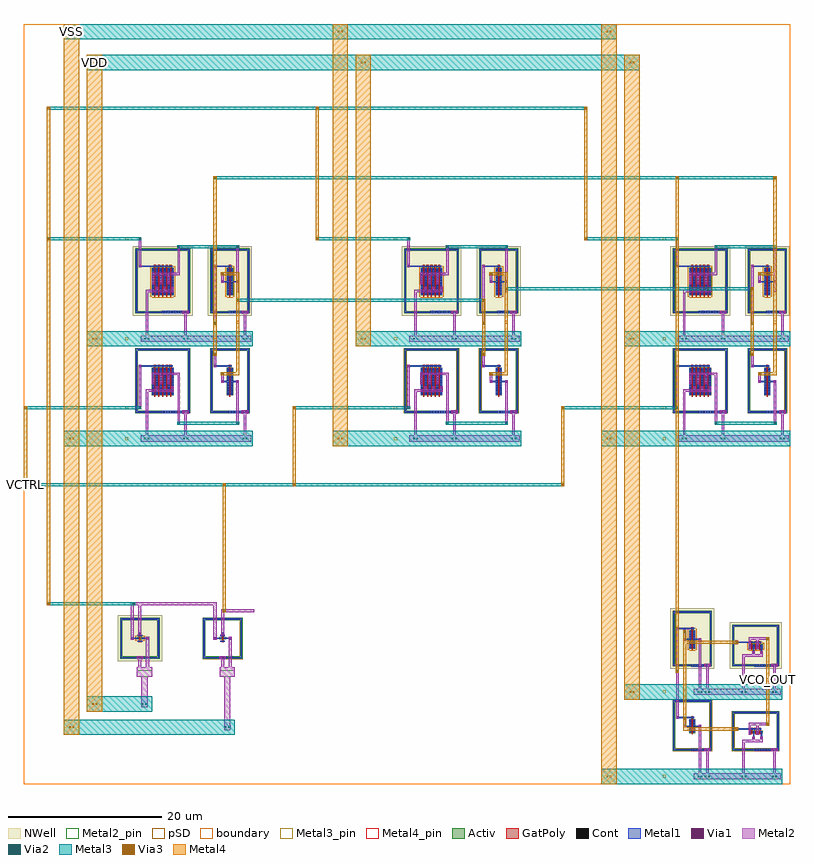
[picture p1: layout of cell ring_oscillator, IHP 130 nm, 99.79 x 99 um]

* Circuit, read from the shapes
.subckt ring_oscillator VCO_OUT VCTRL VDD VSS
XM1 VSS VCTRL inverter_0/cic_sg13_lv_nmos_47ddf1ff5e14_0/D0 VSS sg13_lv_nmos w=3.6u l=0.13u m=5
XM2 VSS VCTRL inverter_0/VBP VSS sg13_lv_nmos w=0.15u l=0.13u
XM3 inverter_0/cic_sg13_lv_nmos_47ddf1ff5e14_0/D0 inverter_0/VIN inverter_1/VIN VSS sg13_lv_nmos w=3.6u l=0.13u
XM4 VSS VCTRL inverter_1/cic_sg13_lv_nmos_47ddf1ff5e14_0/D0 VSS sg13_lv_nmos w=3.6u l=0.13u m=5
XM5 inverter_1/cic_sg13_lv_nmos_47ddf1ff5e14_0/D0 inverter_1/VIN inverter_2/VIN VSS sg13_lv_nmos w=3.6u l=0.13u
XM6 VSS inverter_0/VIN vco_buffer_4/cic_sg13_lv_nmos_735fad46d5f7_0/D VSS sg13_lv_nmos w=1.8u l=0.13u
XM7 VSS VCTRL inverter_2/cic_sg13_lv_nmos_47ddf1ff5e14_0/D0 VSS sg13_lv_nmos w=3.6u l=0.13u m=5
XM8 VSS vco_buffer_4/cic_sg13_lv_nmos_735fad46d5f7_0/D VCO_OUT VSS sg13_lv_nmos w=0.3u l=0.13u m=3
XM9 inverter_2/cic_sg13_lv_nmos_47ddf1ff5e14_0/D0 inverter_2/VIN inverter_0/VIN VSS sg13_lv_nmos w=3.6u l=0.13u
XM10 VDD inverter_0/VBP inverter_0/VBP VDD sg13_lv_pmos w=0.15u l=0.13u
XM11 VDD inverter_0/VBP inverter_0/cic_sg13_lv_pmos_8b937ec59633_2/D0 VDD sg13_lv_pmos w=3.6u l=0.13u m=5
XM12 inverter_0/cic_sg13_lv_pmos_8b937ec59633_2/D0 inverter_0/VIN inverter_1/VIN VDD sg13_lv_pmos w=3.6u l=0.13u
XM13 VDD inverter_0/VBP inverter_1/cic_sg13_lv_pmos_8b937ec59633_2/D0 VDD sg13_lv_pmos w=3.6u l=0.13u m=5
XM14 inverter_1/cic_sg13_lv_pmos_8b937ec59633_2/D0 inverter_1/VIN inverter_2/VIN VDD sg13_lv_pmos w=3.6u l=0.13u
XM15 VDD inverter_0/VIN vco_buffer_4/cic_sg13_lv_nmos_735fad46d5f7_0/D VDD sg13_lv_pmos w=2.4u l=0.13u
XM16 VDD inverter_0/VBP inverter_2/cic_sg13_lv_pmos_8b937ec59633_2/D0 VDD sg13_lv_pmos w=3.6u l=0.13u m=5
XM17 VDD vco_buffer_4/cic_sg13_lv_nmos_735fad46d5f7_0/D VCO_OUT VDD sg13_lv_pmos w=0.6u l=0.13u m=3
XM18 inverter_2/cic_sg13_lv_pmos_8b937ec59633_2/D0 inverter_2/VIN inverter_0/VIN VDD sg13_lv_pmos w=3.6u l=0.13u
.ends

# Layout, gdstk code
import gdstk
lib = gdstk.Library(unit=1e-6, precision=1e-09)
def R(c, l, rs):  # rectangles x0, y0, x1, y1
    for r in rs: c.add(gdstk.rectangle(r[:2], r[2:], *l))
def A(c, l, x, y, w, h, nx, ny, dx, dy):  # array of equal rectangles
    R(c, l, [(x+i*dx, y+j*dy, x+i*dx+w, y+j*dy+h) for i in range(nx) for j in range(ny)])
Activ = (1, 0)
GatPoly = (5, 0)
Cont = (6, 0)
Metal1 = (8, 0)
Metal2 = (10, 0)
Metal2_pin = (10, 2)
pSD = (14, 0)
Via1 = (19, 0)
Via2 = (29, 0)
Metal3 = (30, 0)
Metal3_pin = (30, 2)
NWell = (31, 0)
Via3 = (49, 0)
Metal4 = (50, 0)
Metal4_pin = (50, 2)
boundary = (189, 4)

cic_sg13_lv_nmos_47ddf1f = lib.new_cell('cic_sg13_lv_nmos_47ddf1ff5e14')
R(cic_sg13_lv_nmos_47ddf1f, Activ, [(-3.575,-4.225,3.575,-3.925), (-3.575,-3.925,-3.275,3.925), (3.275,-3.925,3.575,3.925), (-1.425,-1.895,1.425,1.705), (-3.575,3.925,3.575,4.225)])
A(cic_sg13_lv_nmos_47ddf1f, GatPoly, -1.085, -2.075, 0.13, 3.85, 5, 1, 0.51, 0)
A(cic_sg13_lv_nmos_47ddf1f, GatPoly, -1.17, 1.775, 0.3, 0.3, 5, 1, 0.51, 0)
A(cic_sg13_lv_nmos_47ddf1f, Cont, -2.97, -4.155, 0.16, 0.16, 18, 2, 0.34, 8.15)
A(cic_sg13_lv_nmos_47ddf1f, Cont, -3.505, -3.65, 0.16, 0.16, 1, 22, 0, 0.34)
A(cic_sg13_lv_nmos_47ddf1f, Cont, 3.345, -3.65, 0.16, 0.16, 1, 22, 0, 0.34)
A(cic_sg13_lv_nmos_47ddf1f, Cont, -1.355, -1.705, 0.16, 0.16, 6, 10, 0.51, 0.34)
A(cic_sg13_lv_nmos_47ddf1f, Cont, -1.1, 1.845, 0.16, 0.16, 5, 1, 0.51, 0)
A(cic_sg13_lv_nmos_47ddf1f, Metal1, -1.405, -1.825, 0.26, 3.46, 6, 1, 0.51, 0)
R(cic_sg13_lv_nmos_47ddf1f, Metal1, [(-3.505,-4.155,3.505,-3.995), (-3.505,-3.995,-3.345,3.995), (3.345,-3.995,3.505,3.995), (-1.275,1.845,1.275,2.005), (-3.505,3.995,3.505,4.155)])
R(cic_sg13_lv_nmos_47ddf1f, pSD, [(-3.605,-4.255,3.605,-3.895), (-3.605,-3.895,-3.245,3.895), (3.245,-3.895,3.605,3.895), (-3.605,3.895,3.605,4.255)])
R(cic_sg13_lv_nmos_47ddf1f, boundary, [(-3.425,-4.075,3.425,4.075)])
cic_sg13_lv_nmos_47ddf1f.add(gdstk.Label('B', (0,-4.075), layer=8, texttype=25))
cic_sg13_lv_nmos_47ddf1f.add(gdstk.Label('D0', (-1.275,-0.095), layer=8, texttype=25))
cic_sg13_lv_nmos_47ddf1f.add(gdstk.Label('G', (1.02,1.925), layer=8, texttype=25))
cic_sg13_lv_nmos_47ddf1f.add(gdstk.Label('G', (0.51,1.925), layer=8, texttype=25))
cic_sg13_lv_nmos_47ddf1f.add(gdstk.Label('G', (0,1.925), layer=8, texttype=25))
cic_sg13_lv_nmos_47ddf1f.add(gdstk.Label('G', (-0.51,1.925), layer=8, texttype=25))
cic_sg13_lv_nmos_47ddf1f.add(gdstk.Label('G', (-1.02,1.925), layer=8, texttype=25))
cic_sg13_lv_nmos_47ddf1f.add(gdstk.Label('S1', (-0.765,-0.095), layer=8, texttype=25))
cic_sg13_lv_nmos_47ddf1f.add(gdstk.Label('D2', (-0.255,-0.095), layer=8, texttype=25))
cic_sg13_lv_nmos_47ddf1f.add(gdstk.Label('S3', (0.255,-0.095), layer=8, texttype=25))
cic_sg13_lv_nmos_47ddf1f.add(gdstk.Label('D4', (0.765,-0.095), layer=8, texttype=25))
cic_sg13_lv_nmos_47ddf1f.add(gdstk.Label('S4', (1.275,-0.095), layer=8, texttype=25))

cic_sg13_lv_nmos_5bdecae = lib.new_cell('cic_sg13_lv_nmos_5bdecaed9640')
R(cic_sg13_lv_nmos_5bdecae, Activ, [(-2.555,-4.225,2.555,-3.925), (-2.555,-3.925,-2.255,3.925), (2.255,-3.925,2.555,3.925), (-0.405,-1.895,0.405,1.705), (-2.555,3.925,2.555,4.225)])
R(cic_sg13_lv_nmos_5bdecae, GatPoly, [(-0.065,-2.075,0.065,1.775), (-0.15,1.775,0.15,2.075)])
A(cic_sg13_lv_nmos_5bdecae, Cont, -1.95, -4.155, 0.16, 0.16, 12, 2, 0.34, 8.15)
A(cic_sg13_lv_nmos_5bdecae, Cont, -2.485, -3.65, 0.16, 0.16, 1, 22, 0, 0.34)
A(cic_sg13_lv_nmos_5bdecae, Cont, 2.325, -3.65, 0.16, 0.16, 1, 22, 0, 0.34)
A(cic_sg13_lv_nmos_5bdecae, Cont, -0.335, -1.705, 0.16, 0.16, 1, 10, 0, 0.34)
A(cic_sg13_lv_nmos_5bdecae, Cont, 0.175, -1.705, 0.16, 0.16, 1, 10, 0, 0.34)
R(cic_sg13_lv_nmos_5bdecae, Cont, [(-0.08,1.845,0.08,2.005)])
R(cic_sg13_lv_nmos_5bdecae, Metal1, [(-2.485,-4.155,2.485,-3.995), (-2.485,-3.995,-2.325,3.995), (2.325,-3.995,2.485,3.995), (-0.385,-1.825,-0.125,1.635), (0.125,-1.825,0.385,1.635), (-0.255,1.845,0.255,2.005), (-2.485,3.995,2.485,4.155)])
R(cic_sg13_lv_nmos_5bdecae, pSD, [(-2.585,-4.255,2.585,-3.895), (-2.585,-3.895,-2.225,3.895), (2.225,-3.895,2.585,3.895), (-2.585,3.895,2.585,4.255)])
R(cic_sg13_lv_nmos_5bdecae, boundary, [(-2.405,-4.075,2.405,4.075)])
cic_sg13_lv_nmos_5bdecae.add(gdstk.Label('B', (0,-4.075), layer=8, texttype=25))
cic_sg13_lv_nmos_5bdecae.add(gdstk.Label('D', (-0.255,-0.095), layer=8, texttype=25))
cic_sg13_lv_nmos_5bdecae.add(gdstk.Label('S', (0.255,-0.095), layer=8, texttype=25))
cic_sg13_lv_nmos_5bdecae.add(gdstk.Label('G', (0,1.925), layer=8, texttype=25))

cic_sg13_lv_pmos_8b937ec = lib.new_cell('cic_sg13_lv_pmos_8b937ec59633')
R(cic_sg13_lv_pmos_8b937ec, Activ, [(-3.575,-4.225,3.575,-3.925), (-3.575,-3.925,-3.275,3.925), (3.275,-3.925,3.575,3.925), (-1.425,-1.895,1.425,1.705), (-3.575,3.925,3.575,4.225)])
A(cic_sg13_lv_pmos_8b937ec, GatPoly, -1.085, -2.075, 0.13, 3.85, 5, 1, 0.51, 0)
A(cic_sg13_lv_pmos_8b937ec, GatPoly, -1.17, 1.775, 0.3, 0.3, 5, 1, 0.51, 0)
A(cic_sg13_lv_pmos_8b937ec, Cont, -2.97, -4.155, 0.16, 0.16, 18, 2, 0.34, 8.15)
A(cic_sg13_lv_pmos_8b937ec, Cont, -3.505, -3.65, 0.16, 0.16, 1, 22, 0, 0.34)
A(cic_sg13_lv_pmos_8b937ec, Cont, 3.345, -3.65, 0.16, 0.16, 1, 22, 0, 0.34)
A(cic_sg13_lv_pmos_8b937ec, Cont, -1.355, -1.705, 0.16, 0.16, 6, 10, 0.51, 0.34)
A(cic_sg13_lv_pmos_8b937ec, Cont, -1.1, 1.845, 0.16, 0.16, 5, 1, 0.51, 0)
A(cic_sg13_lv_pmos_8b937ec, Metal1, -1.405, -1.825, 0.26, 3.46, 6, 1, 0.51, 0)
R(cic_sg13_lv_pmos_8b937ec, Metal1, [(-3.505,-4.155,3.505,-3.995), (-3.505,-3.995,-3.345,3.995), (3.345,-3.995,3.505,3.995), (-1.275,1.845,1.275,2.005), (-3.505,3.995,3.505,4.155)])
R(cic_sg13_lv_pmos_8b937ec, pSD, [(-1.385,-2.195,1.385,-2.075), (-1.605,-2.075,1.605,1.885), (-1.385,1.885,1.385,2.005)])
R(cic_sg13_lv_pmos_8b937ec, NWell, [(-3.885,-4.535,3.885,4.535)])
R(cic_sg13_lv_pmos_8b937ec, boundary, [(-3.425,-4.075,3.425,4.075)])
cic_sg13_lv_pmos_8b937ec.add(gdstk.Label('B', (0,-4.075), layer=8, texttype=25))
cic_sg13_lv_pmos_8b937ec.add(gdstk.Label('D0', (-1.275,-0.095), layer=8, texttype=25))
cic_sg13_lv_pmos_8b937ec.add(gdstk.Label('G', (1.02,1.925), layer=8, texttype=25))
cic_sg13_lv_pmos_8b937ec.add(gdstk.Label('G', (0.51,1.925), layer=8, texttype=25))
cic_sg13_lv_pmos_8b937ec.add(gdstk.Label('G', (0,1.925), layer=8, texttype=25))
cic_sg13_lv_pmos_8b937ec.add(gdstk.Label('G', (-0.51,1.925), layer=8, texttype=25))
cic_sg13_lv_pmos_8b937ec.add(gdstk.Label('G', (-1.02,1.925), layer=8, texttype=25))
cic_sg13_lv_pmos_8b937ec.add(gdstk.Label('S1', (-0.765,-0.095), layer=8, texttype=25))
cic_sg13_lv_pmos_8b937ec.add(gdstk.Label('D2', (-0.255,-0.095), layer=8, texttype=25))
cic_sg13_lv_pmos_8b937ec.add(gdstk.Label('S3', (0.255,-0.095), layer=8, texttype=25))
cic_sg13_lv_pmos_8b937ec.add(gdstk.Label('D4', (0.765,-0.095), layer=8, texttype=25))
cic_sg13_lv_pmos_8b937ec.add(gdstk.Label('S4', (1.275,-0.095), layer=8, texttype=25))

cic_sg13_lv_pmos_a71acf2 = lib.new_cell('cic_sg13_lv_pmos_a71acf20dcff')
R(cic_sg13_lv_pmos_a71acf2, Activ, [(-2.555,-4.225,2.555,-3.925), (-2.555,-3.925,-2.255,3.925), (2.255,-3.925,2.555,3.925), (-0.405,-1.895,0.405,1.705), (-2.555,3.925,2.555,4.225)])
R(cic_sg13_lv_pmos_a71acf2, GatPoly, [(-0.065,-2.075,0.065,1.775), (-0.15,1.775,0.15,2.075)])
A(cic_sg13_lv_pmos_a71acf2, Cont, -1.95, -4.155, 0.16, 0.16, 12, 2, 0.34, 8.15)
A(cic_sg13_lv_pmos_a71acf2, Cont, -2.485, -3.65, 0.16, 0.16, 1, 22, 0, 0.34)
A(cic_sg13_lv_pmos_a71acf2, Cont, 2.325, -3.65, 0.16, 0.16, 1, 22, 0, 0.34)
A(cic_sg13_lv_pmos_a71acf2, Cont, -0.335, -1.705, 0.16, 0.16, 1, 10, 0, 0.34)
A(cic_sg13_lv_pmos_a71acf2, Cont, 0.175, -1.705, 0.16, 0.16, 1, 10, 0, 0.34)
R(cic_sg13_lv_pmos_a71acf2, Cont, [(-0.08,1.845,0.08,2.005)])
R(cic_sg13_lv_pmos_a71acf2, Metal1, [(-2.485,-4.155,2.485,-3.995), (-2.485,-3.995,-2.325,3.995), (2.325,-3.995,2.485,3.995), (-0.385,-1.825,-0.125,1.635), (0.125,-1.825,0.385,1.635), (-0.255,1.845,0.255,2.005), (-2.485,3.995,2.485,4.155)])
R(cic_sg13_lv_pmos_a71acf2, pSD, [(-0.365,-2.195,0.365,-2.075), (-0.585,-2.075,0.585,1.885), (-0.365,1.885,0.365,2.005)])
R(cic_sg13_lv_pmos_a71acf2, NWell, [(-2.865,-4.535,2.865,4.535)])
R(cic_sg13_lv_pmos_a71acf2, boundary, [(-2.405,-4.075,2.405,4.075)])
cic_sg13_lv_pmos_a71acf2.add(gdstk.Label('B', (0,-4.075), layer=8, texttype=25))
cic_sg13_lv_pmos_a71acf2.add(gdstk.Label('D', (-0.255,-0.095), layer=8, texttype=25))
cic_sg13_lv_pmos_a71acf2.add(gdstk.Label('S', (0.255,-0.095), layer=8, texttype=25))
cic_sg13_lv_pmos_a71acf2.add(gdstk.Label('G', (0,1.925), layer=8, texttype=25))

inverter = lib.new_cell('inverter')
A(inverter, Metal1, 2.96, 3.48, 0.32, 0.32, 3, 2, 1.02, 13)
A(inverter, Metal1, 3.04, 3.8, 0.16, 0.72, 3, 2, 1.02, 13)
A(inverter, Metal1, 2.45, 4.08, 0.32, 0.32, 3, 2, 1.02, 13)
A(inverter, Metal1, 2.53, 4.4, 0.16, 0.12, 3, 2, 1.02, 13)
R(inverter, Metal1, [(3.725,0.3,7.24,0.62), (12.475,0.3,14.97,0.62), (11.475,4.28,11.795,4.36), (13.475,4.28,13.795,4.36), (11.475,4.36,12.46,4.52), (12.81,4.36,13.795,4.52), (11.475,4.52,11.795,4.6), (13.475,4.52,13.795,4.6), (0.75,6.3,1.07,6.38), (10.52,6.3,10.84,6.38), (0.75,6.38,2.945,6.54), (10.52,6.38,12.715,6.54), (0.75,6.54,1.07,6.62), (10.52,6.54,10.84,6.62), (3.725,13.3,7.24,13.62), (12.475,13.3,14.97,13.62), (11.475,17.28,11.795,17.36), (13.475,17.28,13.795,17.36), (11.475,17.36,12.46,17.52), (12.81,17.36,13.795,17.52), (11.475,17.52,11.795,17.6), (13.475,17.52,13.795,17.6), (0.75,19.3,1.07,19.38), (10.52,19.3,10.84,19.38), (0.75,19.38,2.945,19.54), (10.52,19.38,12.715,19.54), (0.75,19.54,1.07,19.62), (10.52,19.54,10.84,19.62)])
A(inverter, Metal2, 2.96, 3.4, 0.32, 0.4, 3, 2, 1.02, 13)
A(inverter, Metal2, 2.45, 4.08, 0.32, 1.2, 3, 2, 1.02, 13)
R(inverter, Metal2, [(0.99,-3.4,15.41,-2.6), (1.65,-2.6,1.97,3.08), (6.7,-2.6,7.02,0.26), (14.43,-2.6,14.75,0.26), (5.8,-1.16,6.12,5.28), (13.475,-1.16,13.795,4.6), (6.44,0.26,7.28,0.66), (14.17,0.26,15.01,0.66), (0.75,0.84,1.07,6.62), (1.65,3.08,5.32,3.4), (11.475,4.28,11.795,5.6), (2.45,5.28,6.12,5.6), (10.52,6.3,10.84,8.16), (0.99,9.6,15.41,10.4), (1.65,10.4,1.97,16.08), (6.7,10.4,7.02,13.26), (14.43,10.4,14.75,13.26), (10.52,11.84,10.84,19.62), (6.44,13.26,7.28,13.66), (14.17,13.26,15.01,13.66), (1.65,16.08,5.32,16.4), (13.475,16.08,13.795,22.16), (11.475,17.28,11.795,18.6), (2.45,18.28,6.12,18.6), (5.8,18.6,6.12,22.16), (0.75,19.3,1.07,23.16)])
A(inverter, Via1, 3.025, 3.545, 0.19, 0.19, 3, 2, 1.02, 13)
A(inverter, Via1, 2.515, 4.145, 0.19, 0.19, 3, 2, 1.02, 13)
R(inverter, Via1, [(6.545,0.365,6.735,0.555), (6.985,0.365,7.175,0.555), (14.275,0.365,14.465,0.555), (14.715,0.365,14.905,0.555), (11.54,4.345,11.73,4.535), (13.54,4.345,13.73,4.535), (0.815,6.365,1.005,6.555), (10.585,6.365,10.775,6.555), (6.545,13.365,6.735,13.555), (6.985,13.365,7.175,13.555), (14.275,13.365,14.465,13.555), (14.715,13.365,14.905,13.555), (11.54,17.345,11.73,17.535), (13.54,17.345,13.73,17.535), (0.815,19.365,1.005,19.555), (10.585,19.365,10.775,19.555)])
R(inverter, Via2, [(1.495,-3.095,1.685,-2.905), (1.935,-3.095,2.125,-2.905), (6.545,-3.095,6.735,-2.905), (6.985,-3.095,7.175,-2.905), (14.275,-3.095,14.465,-2.905), (14.715,-3.095,14.905,-2.905), (5.865,-1.095,6.055,-0.905), (13.54,-1.095,13.73,-0.905), (0.815,0.905,1.005,1.095), (11.54,5.345,11.73,5.535), (10.585,7.905,10.775,8.095), (1.495,9.905,1.685,10.095), (1.935,9.905,2.125,10.095), (6.545,9.905,6.735,10.095), (6.985,9.905,7.175,10.095), (14.275,9.905,14.465,10.095), (14.715,9.905,14.905,10.095), (10.585,11.905,10.775,12.095), (11.54,18.345,11.73,18.535), (5.865,21.905,6.055,22.095), (13.54,21.905,13.73,22.095), (0.815,22.905,1.005,23.095)])
R(inverter, Metal3, [(-2,-4,15.59,-2), (5.76,-1.2,13.835,-0.8), (-1.2,0.8,1.11,1.2), (11.435,5.24,11.835,5.64), (10.48,7.8,10.88,8.2), (-2,9,15.59,11), (10.48,11.8,10.88,12.2), (11.435,18.24,11.835,18.64), (5.76,21.8,13.835,22.2), (-1.2,22.8,1.11,23.2)])
R(inverter, Metal3_pin, [(-1,-3.2,-0.6,-2.8), (-1,0.8,-0.6,1.2), (-1,9.8,-0.6,10.2), (-1,22.8,-0.6,23.2)])
R(inverter, Via3, [(11.54,5.345,11.73,5.535), (10.585,7.905,10.775,8.095), (10.585,11.905,10.775,12.095), (11.54,18.345,11.73,18.535)])
R(inverter, Metal4, [(11.435,5.24,13.835,5.64), (13.435,5.64,13.835,18.24), (10.48,7.8,10.88,12.2), (11.435,18.24,13.835,18.64)])
R(inverter, Metal4_pin, [(10.48,10,10.88,10.4), (13.435,11.94,13.835,12.34)])
R(inverter, boundary, [(-2,-4,15.59,23.2)])
inverter.add(gdstk.Reference(cic_sg13_lv_nmos_47ddf1f, (3.885,4.535)))
inverter.add(gdstk.Reference(cic_sg13_lv_nmos_5bdecae, (12.635,4.535)))
inverter.add(gdstk.Reference(cic_sg13_lv_pmos_8b937ec, (3.885,17.535)))
inverter.add(gdstk.Reference(cic_sg13_lv_pmos_a71acf2, (12.635,17.535)))
inverter.add(gdstk.Label('VIN', (10.68,10.2), layer=50, texttype=25))
inverter.add(gdstk.Label('VOUT', (13.635,12.14), layer=50, texttype=25))
inverter.add(gdstk.Label('VDD', (-0.8,10), layer=30, texttype=25))
inverter.add(gdstk.Label('VBP', (-0.8,23), layer=30, texttype=25))
inverter.add(gdstk.Label('VBN', (-0.8,1), layer=30, texttype=25))
inverter.add(gdstk.Label('VSS', (-0.8,-3), layer=30, texttype=25))

cic_sg13_lv_pmos_b1cfe2b = lib.new_cell('cic_sg13_lv_pmos_b1cfe2bc0290')
R(cic_sg13_lv_pmos_b1cfe2b, Activ, [(-2.585,-2.67,2.585,-2.37), (-2.585,-2.37,-2.285,2.37), (2.285,-2.37,2.585,2.37), (-0.435,-0.15,-0.135,-0.075), (0.135,-0.15,0.435,-0.075), (-0.435,-0.075,0.435,0.075), (-0.435,0.075,-0.135,0.15), (0.135,0.075,0.435,0.15), (-2.585,2.37,2.585,2.67)])
R(cic_sg13_lv_pmos_b1cfe2b, GatPoly, [(-0.15,-0.52,0.15,-0.22), (-0.065,-0.22,0.065,0.22), (-0.15,0.22,0.15,0.52)])
A(cic_sg13_lv_pmos_b1cfe2b, Cont, -2.12, -2.6, 0.16, 0.16, 13, 2, 0.34, 5.04)
A(cic_sg13_lv_pmos_b1cfe2b, Cont, -2.515, -2.12, 0.16, 0.16, 1, 13, 0, 0.34)
A(cic_sg13_lv_pmos_b1cfe2b, Cont, 2.355, -2.12, 0.16, 0.16, 1, 13, 0, 0.34)
R(cic_sg13_lv_pmos_b1cfe2b, Cont, [(-0.08,-0.45,0.08,-0.29), (-0.365,-0.08,-0.205,0.08), (0.205,-0.08,0.365,0.08), (-0.08,0.29,0.08,0.45)])
R(cic_sg13_lv_pmos_b1cfe2b, Metal1, [(-2.515,-2.6,2.515,-2.44), (-2.515,-2.44,-2.355,2.44), (2.355,-2.44,2.515,2.44), (-0.285,-0.45,0.285,-0.29), (-0.415,-0.08,-0.155,0.08), (0.155,-0.08,0.415,0.08), (-0.285,0.29,0.285,0.45), (-2.515,2.44,2.515,2.6)])
R(cic_sg13_lv_pmos_b1cfe2b, pSD, [(-0.365,-0.375,0.365,-0.33), (-0.615,-0.33,0.615,0.33), (-0.365,0.33,0.365,0.375)])
R(cic_sg13_lv_pmos_b1cfe2b, NWell, [(-2.895,-2.98,2.895,2.98)])
R(cic_sg13_lv_pmos_b1cfe2b, boundary, [(-2.435,-2.52,2.435,2.52)])
cic_sg13_lv_pmos_b1cfe2b.add(gdstk.Label('B', (0,-2.52), layer=8, texttype=25))
cic_sg13_lv_pmos_b1cfe2b.add(gdstk.Label('D', (-0.285,0), layer=8, texttype=25))
cic_sg13_lv_pmos_b1cfe2b.add(gdstk.Label('S', (0.285,0), layer=8, texttype=25))
cic_sg13_lv_pmos_b1cfe2b.add(gdstk.Label('G', (0,0.37), layer=8, texttype=25))

cic_sg13_lv_nmos_392b982 = lib.new_cell('cic_sg13_lv_nmos_392b982bce1b')
R(cic_sg13_lv_nmos_392b982, Activ, [(-2.585,-2.67,2.585,-2.37), (-2.585,-2.37,-2.285,2.37), (2.285,-2.37,2.585,2.37), (-0.435,-0.15,-0.135,-0.075), (0.135,-0.15,0.435,-0.075), (-0.435,-0.075,0.435,0.075), (-0.435,0.075,-0.135,0.15), (0.135,0.075,0.435,0.15), (-2.585,2.37,2.585,2.67)])
R(cic_sg13_lv_nmos_392b982, GatPoly, [(-0.15,-0.52,0.15,-0.22), (-0.065,-0.22,0.065,0.22), (-0.15,0.22,0.15,0.52)])
A(cic_sg13_lv_nmos_392b982, Cont, -2.12, -2.6, 0.16, 0.16, 13, 2, 0.34, 5.04)
A(cic_sg13_lv_nmos_392b982, Cont, -2.515, -2.12, 0.16, 0.16, 1, 13, 0, 0.34)
A(cic_sg13_lv_nmos_392b982, Cont, 2.355, -2.12, 0.16, 0.16, 1, 13, 0, 0.34)
R(cic_sg13_lv_nmos_392b982, Cont, [(-0.08,-0.45,0.08,-0.29), (-0.365,-0.08,-0.205,0.08), (0.205,-0.08,0.365,0.08), (-0.08,0.29,0.08,0.45)])
R(cic_sg13_lv_nmos_392b982, Metal1, [(-2.515,-2.6,2.515,-2.44), (-2.515,-2.44,-2.355,2.44), (2.355,-2.44,2.515,2.44), (-0.285,-0.45,0.285,-0.29), (-0.415,-0.08,-0.155,0.08), (0.155,-0.08,0.415,0.08), (-0.285,0.29,0.285,0.45), (-2.515,2.44,2.515,2.6)])
R(cic_sg13_lv_nmos_392b982, pSD, [(-2.615,-2.7,2.615,-2.34), (-2.615,-2.34,-2.255,2.34), (2.255,-2.34,2.615,2.34), (-2.615,2.34,2.615,2.7)])
R(cic_sg13_lv_nmos_392b982, boundary, [(-2.435,-2.52,2.435,2.52)])
cic_sg13_lv_nmos_392b982.add(gdstk.Label('B', (0,-2.52), layer=8, texttype=25))
cic_sg13_lv_nmos_392b982.add(gdstk.Label('D', (-0.285,0), layer=8, texttype=25))
cic_sg13_lv_nmos_392b982.add(gdstk.Label('S', (0.285,0), layer=8, texttype=25))
cic_sg13_lv_nmos_392b982.add(gdstk.Label('G', (0,0.37), layer=8, texttype=25))

vco_bias = lib.new_cell('vco_bias')
R(vco_bias, Metal1, [(2.515,0.3,3.275,0.62), (13.305,0.3,14.065,0.62), (1.735,2.82,2.055,2.9), (3.735,2.82,4.055,2.9), (12.525,2.82,12.845,2.9), (14.525,2.82,14.845,2.9), (1.735,2.9,2.69,3.06), (3.1,2.9,4.055,3.06), (12.525,2.9,13.48,3.06), (13.89,2.9,14.845,3.06), (1.735,3.06,2.055,3.14), (3.735,3.06,4.055,3.14), (12.525,3.06,12.845,3.14), (14.525,3.06,14.845,3.14), (2.815,3.27,2.975,3.42), (13.605,3.27,13.765,3.42), (2.735,3.42,3.055,3.74), (13.525,3.42,13.845,3.74)])
R(vco_bias, Metal2, [(2.495,-2,4.495,-0.8), (13.285,-2,15.285,-0.8), (2.695,-0.8,3.095,0.26), (3.695,-0.8,4.095,3.18), (13.485,-0.8,13.885,0.26), (14.485,-0.8,14.885,3.18), (2.475,0.26,3.315,0.66), (13.265,0.26,14.105,0.66), (1.695,2.78,2.095,7.26), (12.485,2.78,12.885,7.26), (2.695,3.38,3.095,7.26), (13.485,3.38,13.885,6.36), (13.485,6.36,17.78,6.76), (1.695,7.26,12.885,7.66)])
R(vco_bias, Metal2_pin, [(2.495,-2,4.495,-1.2), (13.285,-2,15.285,-1.2), (13.685,6.36,14.085,6.76), (1.895,7.26,2.295,7.66)])
R(vco_bias, Via1, [(2.58,0.365,2.77,0.555), (3.02,0.365,3.21,0.555), (13.37,0.365,13.56,0.555), (13.81,0.365,14,0.555), (1.8,2.885,1.99,3.075), (3.8,2.885,3.99,3.075), (12.59,2.885,12.78,3.075), (14.59,2.885,14.78,3.075), (2.8,3.485,2.99,3.675), (13.59,3.485,13.78,3.675)])
R(vco_bias, boundary, [(0,-2,17.78,7.66)])
vco_bias.add(gdstk.Reference(cic_sg13_lv_pmos_b1cfe2b, (2.895,2.98)))
vco_bias.add(gdstk.Reference(cic_sg13_lv_nmos_392b982, (13.685,2.98)))
vco_bias.add(gdstk.Label('VDD', (3.495,-1.6), layer=10, texttype=25))
vco_bias.add(gdstk.Label('VBP', (2.095,7.46), layer=10, texttype=25))
vco_bias.add(gdstk.Label('VCTRL', (13.885,6.56), layer=10, texttype=25))
vco_bias.add(gdstk.Label('VSS', (14.285,-1.6), layer=10, texttype=25))

cic_sg13_lv_nmos_735fad4 = lib.new_cell('cic_sg13_lv_nmos_735fad46d5f7')
R(cic_sg13_lv_nmos_735fad4, Activ, [(-2.555,-3.325,2.555,-3.025), (-2.555,-3.025,-2.255,3.025), (2.255,-3.025,2.555,3.025), (-0.405,-0.995,0.405,0.805), (-2.555,3.025,2.555,3.325)])
R(cic_sg13_lv_nmos_735fad4, GatPoly, [(-0.065,-1.175,0.065,0.875), (-0.15,0.875,0.15,1.175)])
A(cic_sg13_lv_nmos_735fad4, Cont, -1.95, -3.255, 0.16, 0.16, 12, 2, 0.34, 6.35)
A(cic_sg13_lv_nmos_735fad4, Cont, -2.485, -2.8, 0.16, 0.16, 1, 17, 0, 0.34)
A(cic_sg13_lv_nmos_735fad4, Cont, 2.325, -2.8, 0.16, 0.16, 1, 17, 0, 0.34)
A(cic_sg13_lv_nmos_735fad4, Cont, -0.335, -0.855, 0.16, 0.16, 1, 5, 0, 0.34)
A(cic_sg13_lv_nmos_735fad4, Cont, 0.175, -0.855, 0.16, 0.16, 1, 5, 0, 0.34)
R(cic_sg13_lv_nmos_735fad4, Cont, [(-0.08,0.945,0.08,1.105)])
R(cic_sg13_lv_nmos_735fad4, Metal1, [(-2.485,-3.255,2.485,-3.095), (-2.485,-3.095,-2.325,3.095), (2.325,-3.095,2.485,3.095), (-0.385,-0.925,-0.125,0.735), (0.125,-0.925,0.385,0.735), (-0.255,0.945,0.255,1.105), (-2.485,3.095,2.485,3.255)])
R(cic_sg13_lv_nmos_735fad4, pSD, [(-2.585,-3.355,2.585,-2.995), (-2.585,-2.995,-2.225,2.995), (2.225,-2.995,2.585,2.995), (-2.585,2.995,2.585,3.355)])
R(cic_sg13_lv_nmos_735fad4, boundary, [(-2.405,-3.175,2.405,3.175)])
cic_sg13_lv_nmos_735fad4.add(gdstk.Label('B', (0,-3.175), layer=8, texttype=25))
cic_sg13_lv_nmos_735fad4.add(gdstk.Label('D', (-0.255,-0.095), layer=8, texttype=25))
cic_sg13_lv_nmos_735fad4.add(gdstk.Label('S', (0.255,-0.095), layer=8, texttype=25))
cic_sg13_lv_nmos_735fad4.add(gdstk.Label('G', (0,1.025), layer=8, texttype=25))

cic_sg13_lv_nmos_5c87669 = lib.new_cell('cic_sg13_lv_nmos_5c87669d3960')
R(cic_sg13_lv_nmos_5c87669, Activ, [(-3.065,-2.575,3.065,-2.275), (-3.065,-2.275,-2.765,2.275), (2.765,-2.275,3.065,2.275), (-0.915,-0.245,0.915,0.055), (-3.065,2.275,3.065,2.575)])
A(cic_sg13_lv_nmos_5c87669, GatPoly, -0.575, -0.425, 0.13, 0.55, 3, 1, 0.51, 0)
A(cic_sg13_lv_nmos_5c87669, GatPoly, -0.66, 0.125, 0.3, 0.3, 3, 1, 0.51, 0)
A(cic_sg13_lv_nmos_5c87669, Cont, -2.46, -2.505, 0.16, 0.16, 15, 2, 0.34, 4.85)
A(cic_sg13_lv_nmos_5c87669, Cont, -2.995, -1.95, 0.16, 0.16, 1, 12, 0, 0.34)
A(cic_sg13_lv_nmos_5c87669, Cont, 2.835, -1.95, 0.16, 0.16, 1, 12, 0, 0.34)
A(cic_sg13_lv_nmos_5c87669, Cont, -0.845, -0.175, 0.16, 0.16, 4, 1, 0.51, 0)
A(cic_sg13_lv_nmos_5c87669, Cont, -0.59, 0.195, 0.16, 0.16, 3, 1, 0.51, 0)
A(cic_sg13_lv_nmos_5c87669, Metal1, -0.895, -0.175, 0.26, 0.16, 4, 1, 0.51, 0)
R(cic_sg13_lv_nmos_5c87669, Metal1, [(-2.995,-2.505,2.995,-2.345), (-2.995,-2.345,-2.835,2.345), (2.835,-2.345,2.995,2.345), (-0.765,0.195,0.765,0.355), (-2.995,2.345,2.995,2.505)])
R(cic_sg13_lv_nmos_5c87669, pSD, [(-3.095,-2.605,3.095,-2.245), (-3.095,-2.245,-2.735,2.245), (2.735,-2.245,3.095,2.245), (-3.095,2.245,3.095,2.605)])
R(cic_sg13_lv_nmos_5c87669, boundary, [(-2.915,-2.425,2.915,2.425)])
cic_sg13_lv_nmos_5c87669.add(gdstk.Label('B', (0,-2.425), layer=8, texttype=25))
cic_sg13_lv_nmos_5c87669.add(gdstk.Label('D0', (-0.765,-0.095), layer=8, texttype=25))
cic_sg13_lv_nmos_5c87669.add(gdstk.Label('G', (0.51,0.275), layer=8, texttype=25))
cic_sg13_lv_nmos_5c87669.add(gdstk.Label('G', (0,0.275), layer=8, texttype=25))
cic_sg13_lv_nmos_5c87669.add(gdstk.Label('G', (-0.51,0.275), layer=8, texttype=25))
cic_sg13_lv_nmos_5c87669.add(gdstk.Label('S1', (-0.255,-0.095), layer=8, texttype=25))
cic_sg13_lv_nmos_5c87669.add(gdstk.Label('D2', (0.255,-0.095), layer=8, texttype=25))
cic_sg13_lv_nmos_5c87669.add(gdstk.Label('S2', (0.765,-0.095), layer=8, texttype=25))

cic_sg13_lv_pmos_a1d3073 = lib.new_cell('cic_sg13_lv_pmos_a1d3073e3f3e')
R(cic_sg13_lv_pmos_a1d3073, Activ, [(-2.555,-3.625,2.555,-3.325), (-2.555,-3.325,-2.255,3.325), (2.255,-3.325,2.555,3.325), (-0.405,-1.295,0.405,1.105), (-2.555,3.325,2.555,3.625)])
R(cic_sg13_lv_pmos_a1d3073, GatPoly, [(-0.065,-1.475,0.065,1.175), (-0.15,1.175,0.15,1.475)])
A(cic_sg13_lv_pmos_a1d3073, Cont, -1.95, -3.555, 0.16, 0.16, 12, 2, 0.34, 6.95)
A(cic_sg13_lv_pmos_a1d3073, Cont, -2.485, -3.14, 0.16, 0.16, 1, 19, 0, 0.34)
A(cic_sg13_lv_pmos_a1d3073, Cont, 2.325, -3.14, 0.16, 0.16, 1, 19, 0, 0.34)
A(cic_sg13_lv_pmos_a1d3073, Cont, -0.335, -1.195, 0.16, 0.16, 1, 7, 0, 0.34)
A(cic_sg13_lv_pmos_a1d3073, Cont, 0.175, -1.195, 0.16, 0.16, 1, 7, 0, 0.34)
R(cic_sg13_lv_pmos_a1d3073, Cont, [(-0.08,1.245,0.08,1.405)])
R(cic_sg13_lv_pmos_a1d3073, Metal1, [(-2.485,-3.555,2.485,-3.395), (-2.485,-3.395,-2.325,3.395), (2.325,-3.395,2.485,3.395), (-0.385,-1.225,-0.125,1.035), (0.125,-1.225,0.385,1.035), (-0.255,1.245,0.255,1.405), (-2.485,3.395,2.485,3.555)])
R(cic_sg13_lv_pmos_a1d3073, pSD, [(-0.365,-1.595,0.365,-1.475), (-0.585,-1.475,0.585,1.285), (-0.365,1.285,0.365,1.405)])
R(cic_sg13_lv_pmos_a1d3073, NWell, [(-2.865,-3.935,2.865,3.935)])
R(cic_sg13_lv_pmos_a1d3073, boundary, [(-2.405,-3.475,2.405,3.475)])
cic_sg13_lv_pmos_a1d3073.add(gdstk.Label('B', (0,-3.475), layer=8, texttype=25))
cic_sg13_lv_pmos_a1d3073.add(gdstk.Label('D', (-0.255,-0.095), layer=8, texttype=25))
cic_sg13_lv_pmos_a1d3073.add(gdstk.Label('S', (0.255,-0.095), layer=8, texttype=25))
cic_sg13_lv_pmos_a1d3073.add(gdstk.Label('G', (0,1.325), layer=8, texttype=25))

cic_sg13_lv_pmos_46edb3d = lib.new_cell('cic_sg13_lv_pmos_46edb3d115c1')
R(cic_sg13_lv_pmos_46edb3d, Activ, [(-3.065,-2.725,3.065,-2.425), (-3.065,-2.425,-2.765,2.425), (2.765,-2.425,3.065,2.425), (-0.915,-0.395,0.915,0.205), (-3.065,2.425,3.065,2.725)])
A(cic_sg13_lv_pmos_46edb3d, GatPoly, -0.575, -0.575, 0.13, 0.85, 3, 1, 0.51, 0)
A(cic_sg13_lv_pmos_46edb3d, GatPoly, -0.66, 0.275, 0.3, 0.3, 3, 1, 0.51, 0)
A(cic_sg13_lv_pmos_46edb3d, Cont, -2.46, -2.655, 0.16, 0.16, 15, 2, 0.34, 5.15)
A(cic_sg13_lv_pmos_46edb3d, Cont, -2.995, -2.12, 0.16, 0.16, 1, 13, 0, 0.34)
A(cic_sg13_lv_pmos_46edb3d, Cont, 2.835, -2.12, 0.16, 0.16, 1, 13, 0, 0.34)
A(cic_sg13_lv_pmos_46edb3d, Cont, -0.845, -0.175, 0.16, 0.16, 4, 1, 0.51, 0)
A(cic_sg13_lv_pmos_46edb3d, Cont, -0.59, 0.345, 0.16, 0.16, 3, 1, 0.51, 0)
A(cic_sg13_lv_pmos_46edb3d, Metal1, -0.895, -0.325, 0.26, 0.46, 4, 1, 0.51, 0)
R(cic_sg13_lv_pmos_46edb3d, Metal1, [(-2.995,-2.655,2.995,-2.495), (-2.995,-2.495,-2.835,2.495), (2.835,-2.495,2.995,2.495), (-0.765,0.345,0.765,0.505), (-2.995,2.495,2.995,2.655)])
R(cic_sg13_lv_pmos_46edb3d, pSD, [(-0.875,-0.695,0.875,-0.575), (-1.095,-0.575,1.095,0.385), (-0.875,0.385,0.875,0.505)])
R(cic_sg13_lv_pmos_46edb3d, NWell, [(-3.375,-3.035,3.375,3.035)])
R(cic_sg13_lv_pmos_46edb3d, boundary, [(-2.915,-2.575,2.915,2.575)])
cic_sg13_lv_pmos_46edb3d.add(gdstk.Label('B', (0,-2.575), layer=8, texttype=25))
cic_sg13_lv_pmos_46edb3d.add(gdstk.Label('D0', (-0.765,-0.095), layer=8, texttype=25))
cic_sg13_lv_pmos_46edb3d.add(gdstk.Label('G', (0.51,0.425), layer=8, texttype=25))
cic_sg13_lv_pmos_46edb3d.add(gdstk.Label('G', (0,0.425), layer=8, texttype=25))
cic_sg13_lv_pmos_46edb3d.add(gdstk.Label('G', (-0.51,0.425), layer=8, texttype=25))
cic_sg13_lv_pmos_46edb3d.add(gdstk.Label('S1', (-0.255,-0.095), layer=8, texttype=25))
cic_sg13_lv_pmos_46edb3d.add(gdstk.Label('D2', (0.255,-0.095), layer=8, texttype=25))
cic_sg13_lv_pmos_46edb3d.add(gdstk.Label('S2', (0.765,-0.095), layer=8, texttype=25))

vco_buffer = lib.new_cell('vco_buffer')
R(vco_buffer, Metal1, [(2.705,0.3,5.2,0.62), (10.945,0.3,13.95,0.62), (10.69,1.83,11.01,2.15), (11.71,1.83,12.03,2.15), (10.77,2.15,10.93,2.87), (11.79,2.15,11.95,2.87), (10.18,2.43,10.5,2.75), (11.2,2.43,11.52,2.75), (10.26,2.75,10.42,2.87), (11.28,2.75,11.44,2.87), (8.48,3,8.8,3.08), (8.48,3.08,10.675,3.24), (8.48,3.24,8.8,3.32), (1.705,3.38,2.025,3.46), (3.705,3.38,4.025,3.46), (1.705,3.46,2.69,3.62), (3.04,3.46,4.025,3.62), (1.705,3.62,2.025,3.7), (3.705,3.62,4.025,3.7), (0.75,4.5,1.07,4.58), (0.75,4.58,2.945,4.74), (0.75,4.74,1.07,4.82), (2.705,11.3,5.2,11.62), (10.945,11.3,13.95,11.62), (10.69,12.98,11.01,13.3), (11.71,12.98,12.03,13.3), (10.77,13.3,10.93,14.02), (11.79,13.3,11.95,14.02), (10.18,13.58,10.5,13.9), (11.2,13.58,11.52,13.9), (10.26,13.9,10.42,14.02), (11.28,13.9,11.44,14.02), (8.48,14.3,8.8,14.38), (8.48,14.38,10.675,14.54), (8.48,14.54,8.8,14.62), (1.705,14.68,2.025,14.76), (3.705,14.68,4.025,14.76), (1.705,14.76,2.69,14.92), (3.04,14.76,4.025,14.92), (1.705,14.92,2.025,15), (3.705,14.92,4.025,15), (0.75,16.1,1.07,16.18), (0.75,16.18,2.945,16.34), (0.75,16.34,1.07,16.42)])
R(vco_buffer, Metal2, [(3.045,-3.4,14.39,-2.6), (3.705,-2.6,4.025,3.7), (4.66,-2.6,4.98,0.26), (9.38,-2.6,9.7,1.43), (13.41,-2.6,13.73,0.26), (4.4,0.26,5.24,0.66), (13.15,0.26,13.99,0.66), (9.38,1.43,12.03,1.75), (10.69,1.75,11.01,2.15), (11.71,1.75,12.03,2.15), (10.18,2.43,10.5,3.63), (11.2,2.43,11.52,3.63), (8.48,2.92,8.8,3.4), (1.705,3.38,2.025,4.78), (10.18,3.63,12.83,3.95), (0.75,4.5,1.07,16.42), (3.045,7.6,14.39,8.4), (3.705,8.4,4.025,15), (4.66,8.4,4.98,11.26), (9.38,8.4,9.7,12.58), (13.41,8.4,13.73,11.26), (4.4,11.26,5.24,11.66), (13.15,11.26,13.99,11.66), (9.38,12.58,12.03,12.9), (10.69,12.9,11.01,13.3), (11.71,12.9,12.03,13.3), (10.18,13.58,10.5,14.78), (11.2,13.58,11.52,14.78), (8.48,14.22,8.8,14.7), (1.705,14.68,2.025,16.08), (10.18,14.78,12.83,15.1)])
R(vco_buffer, Metal2_pin, [(0.75,10.46,1.07,10.86)])
R(vco_buffer, Via1, [(4.505,0.365,4.695,0.555), (4.945,0.365,5.135,0.555), (13.255,0.365,13.445,0.555), (13.695,0.365,13.885,0.555), (10.755,1.895,10.945,2.085), (11.775,1.895,11.965,2.085), (10.245,2.495,10.435,2.685), (11.265,2.495,11.455,2.685), (8.545,3.065,8.735,3.255), (1.77,3.445,1.96,3.635), (3.77,3.445,3.96,3.635), (0.815,4.565,1.005,4.755), (4.505,11.365,4.695,11.555), (4.945,11.365,5.135,11.555), (13.255,11.365,13.445,11.555), (13.695,11.365,13.885,11.555), (10.755,13.045,10.945,13.235), (11.775,13.045,11.965,13.235), (10.245,13.645,10.435,13.835), (11.265,13.645,11.455,13.835), (8.545,14.365,8.735,14.555), (1.77,14.745,1.96,14.935), (3.77,14.745,3.96,14.935), (0.815,16.165,1.005,16.355)])
R(vco_buffer, Via2, [(3.55,-3.095,3.74,-2.905), (3.99,-3.095,4.18,-2.905), (4.505,-3.095,4.695,-2.905), (4.945,-3.095,5.135,-2.905), (9.225,-3.095,9.415,-2.905), (9.665,-3.095,9.855,-2.905), (13.255,-3.095,13.445,-2.905), (13.695,-3.095,13.885,-2.905), (8.545,3.065,8.735,3.255), (12.575,3.695,12.765,3.885), (1.77,4.445,1.96,4.635), (3.55,7.905,3.74,8.095), (3.99,7.905,4.18,8.095), (4.505,7.905,4.695,8.095), (4.945,7.905,5.135,8.095), (9.225,7.905,9.415,8.095), (9.665,7.905,9.855,8.095), (13.255,7.905,13.445,8.095), (13.695,7.905,13.885,8.095), (8.545,14.365,8.735,14.555), (12.575,14.845,12.765,15.035), (1.77,15.745,1.96,15.935)])
R(vco_buffer, Metal3, [(-2,-4,14.57,-2), (8.44,2.96,8.84,3.36), (12.47,3.59,12.87,3.99), (1.665,4.34,2.065,4.74), (-2,7,14.57,9), (8.44,14.26,8.84,14.66), (12.47,14.74,12.87,15.14), (1.665,15.64,2.065,16.04)])
R(vco_buffer, Metal3_pin, [(-1,-3.2,-0.6,-2.8), (-1,7.8,-0.6,8.2)])
R(vco_buffer, Via3, [(8.545,3.065,8.735,3.255), (12.575,3.695,12.765,3.885), (1.77,4.445,1.96,4.635), (8.545,14.365,8.735,14.555), (12.575,14.845,12.765,15.035), (1.77,15.745,1.96,15.935)])
R(vco_buffer, Metal4, [(1.665,2.96,8.84,3.36), (1.665,3.36,2.065,14.26), (12.47,3.59,12.87,15.14), (1.665,14.26,8.84,14.66), (1.665,14.66,2.065,16.04)])
R(vco_buffer, Metal4_pin, [(12.47,9.365,12.87,9.765)])
R(vco_buffer, boundary, [(-2,-4,14.57,18.87)])
vco_buffer.add(gdstk.Reference(cic_sg13_lv_nmos_735fad4, (2.865,3.635)))
vco_buffer.add(gdstk.Reference(cic_sg13_lv_nmos_5c87669, (11.105,2.885)))
vco_buffer.add(gdstk.Reference(cic_sg13_lv_pmos_a1d3073, (2.865,14.935)))
vco_buffer.add(gdstk.Reference(cic_sg13_lv_pmos_46edb3d, (11.105,14.035)))
vco_buffer.add(gdstk.Label('VOUT', (12.67,9.565), layer=50, texttype=25))
vco_buffer.add(gdstk.Label('VDD', (-0.8,8), layer=30, texttype=25))
vco_buffer.add(gdstk.Label('VSS', (-0.8,-3), layer=30, texttype=25))
vco_buffer.add(gdstk.Label('VIN', (0.91,10.66), layer=10, texttype=25))

ring_oscillator = lib.new_cell('ring_oscillator')
R(ring_oscillator, Metal2, [(13.885,-37,14.685,-36.8), (13.865,-36.8,14.705,-36.4), (13.885,-36.4,14.685,-29.2), (3.095,-34,3.895,-33.8), (3.075,-33.8,3.915,-33.4), (3.095,-33.4,3.895,-29.2), (72.71,-29.54,73.11,-29.14), (13.685,-21.64,14.085,-21.24), (1.895,-20.74,2.295,-20.34)])
R(ring_oscillator, Via2, [(13.97,-36.695,14.16,-36.505), (14.41,-36.695,14.6,-36.505), (3.18,-33.695,3.37,-33.505), (3.62,-33.695,3.81,-33.505), (72.815,-29.435,73.005,-29.245), (13.79,-21.535,13.98,-21.345), (2,-20.635,2.19,-20.445)])
A(ring_oscillator, Metal3, -7, 0, 9.2, 2, 3, 1, 35, 0)
A(ring_oscillator, Metal3, -12.2, 4.8, 13.6, 0.4, 3, 1, 35, 0)
A(ring_oscillator, Metal3, -4, 13, 6.2, 2, 3, 1, 35, 0)
A(ring_oscillator, Metal3, -9.2, 26.8, 10.6, 0.4, 3, 1, 35, 0)
R(ring_oscillator, Metal3, [(63,-44,72.2,-42), (-7,-37.6,15.285,-35.6), (-4,-34.6,4.495,-32.6), (66,-33,72.2,-31), (72.71,-29.54,73.11,-29.14), (13.685,-21.64,14.085,-21.24), (-9.2,-20.74,2.295,-20.34), (-12.2,-5.2,58.2,-4.8), (15.435,18.8,47.88,19.2), (50.435,20.3,82.88,20.7), (12.48,34.8,85.835,35.2), (-9.2,43.8,61.2,44.2), (-4,49,68,51), (-7,53,65,55)])
R(ring_oscillator, Metal3_pin, [(-12.2,-5.2,-11.8,-4.8), (-3.2,49.8,-2.8,50.2), (-6.2,53.8,-5.8,54.2)])
A(ring_oscillator, Via3, -12.095, 4.905, 0.19, 0.19, 3, 1, 35, 0)
A(ring_oscillator, Via3, -9.095, 26.905, 0.19, 0.19, 3, 2, 35, 17)
R(ring_oscillator, Via3, [(63.685,-43.095,63.875,-42.905), (64.125,-43.095,64.315,-42.905), (-6.315,-36.695,-6.125,-36.505), (-5.875,-36.695,-5.685,-36.505), (-3.315,-33.695,-3.125,-33.505), (-2.875,-33.695,-2.685,-33.505), (66.685,-32.095,66.875,-31.905), (67.125,-32.095,67.315,-31.905), (72.815,-29.435,73.005,-29.245), (13.79,-21.535,13.98,-21.345), (-9.095,-20.635,-8.905,-20.445), (-12.095,-5.095,-11.905,-4.905), (13.79,-5.095,13.98,-4.905), (22.905,-5.095,23.095,-4.905), (57.905,-5.095,58.095,-4.905), (-6.315,0.905,-6.125,1.095), (-5.875,0.905,-5.685,1.095), (28.685,0.905,28.875,1.095), (29.125,0.905,29.315,1.095), (63.685,0.905,63.875,1.095), (64.125,0.905,64.315,1.095), (-3.315,13.905,-3.125,14.095), (-2.875,13.905,-2.685,14.095), (31.685,13.905,31.875,14.095), (32.125,13.905,32.315,14.095), (66.685,13.905,66.875,14.095), (67.125,13.905,67.315,14.095), (15.54,18.905,15.73,19.095), (47.585,18.905,47.775,19.095), (50.54,20.405,50.73,20.595), (82.585,20.405,82.775,20.595), (12.585,34.905,12.775,35.095), (72.815,34.905,73.005,35.095), (85.54,34.905,85.73,35.095), (-3.315,49.905,-3.125,50.095), (-2.875,49.905,-2.685,50.095), (31.685,49.905,31.875,50.095), (32.125,49.905,32.315,50.095), (66.685,49.905,66.875,50.095), (67.125,49.905,67.315,50.095), (-6.315,53.905,-6.125,54.095), (-5.875,53.905,-5.685,54.095), (28.685,53.905,28.875,54.095), (29.125,53.905,29.315,54.095), (63.685,53.905,63.875,54.095), (64.125,53.905,64.315,54.095)])
A(ring_oscillator, Metal4, -12.2, -5.2, 0.4, 10.4, 3, 1, 35, 0)
R(ring_oscillator, Metal4, [(63,-44,65,55), (-7,-37.6,-5,55), (-4,-34.6,-2,51), (66,-33,68,51), (84.47,-30.635,84.87,-30.235), (72.71,-29.54,73.11,35.2), (13.685,-21.64,14.085,-4.8), (-9.2,-20.74,-8.8,44.2), (28,0,30,55), (31,13,33,51), (12.48,14,12.88,35.2), (47.48,14,47.88,19.2), (82.48,14,82.88,20.7), (15.435,15.94,15.835,19.2), (50.435,15.94,50.835,20.7), (85.435,15.94,85.835,35.2), (25.8,26.8,26.2,44.2), (60.8,26.8,61.2,44.2)])
R(ring_oscillator, Metal4_pin, [(84.47,-30.635,84.87,-30.235)])
R(ring_oscillator, boundary, [(-12.2,-44,87.59,55)])
ring_oscillator.add(gdstk.Reference(inverter, (2,4)))
ring_oscillator.add(gdstk.Reference(inverter, (37,4)))
ring_oscillator.add(gdstk.Reference(inverter, (72,4)))
ring_oscillator.add(gdstk.Reference(vco_bias, (0,-28)))
ring_oscillator.add(gdstk.Reference(vco_buffer, (72,-40)))
ring_oscillator.add(gdstk.Label('VCO_OUT', (84.67,-30.435), layer=50, texttype=25))
ring_oscillator.add(gdstk.Label('VDD', (-3,50), layer=30, texttype=25))
ring_oscillator.add(gdstk.Label('VCTRL', (-12,-5), layer=30, texttype=25))
ring_oscillator.add(gdstk.Label('VSS', (-6,54), layer=30, texttype=25))

lib.write_gds('ring_oscillator.gds')
